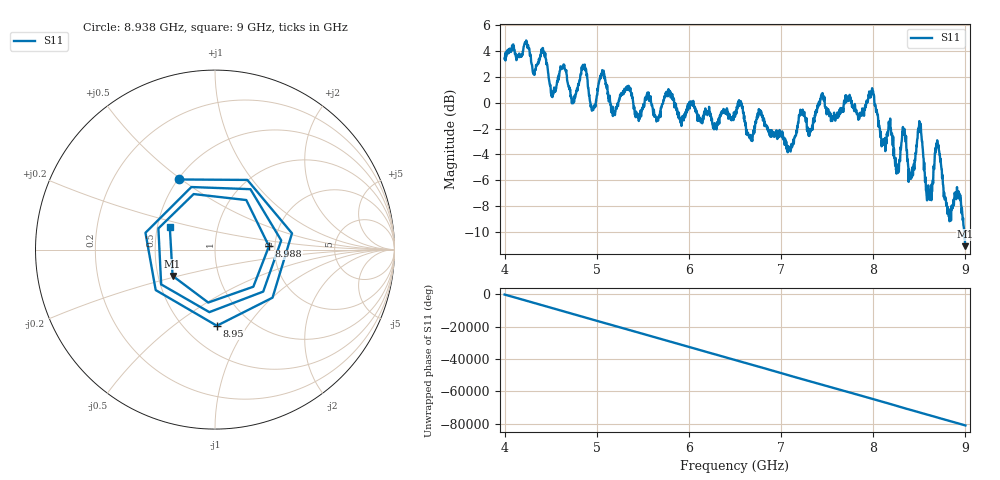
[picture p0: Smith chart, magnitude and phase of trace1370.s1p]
! Created with skrf 1.8.0 (http://scikit-rf.org).
# Hz S RI R 50.0
!freq ReS11 ImS11
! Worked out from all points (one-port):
!   1601 points, 4 GHz to 9 GHz, reference 50 ohm
!   lowest |S11| = -11.1 dB at 8.997 GHz (marker M1), VSWR 1.77, Z = 29.8 - j9.44 ohm
!   |S11| at or under -10 dB: 8.9856 GHz to end of sweep
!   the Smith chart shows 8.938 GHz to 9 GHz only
!   S11 on the Smith chart (normalised r, x): 8.938 GHz: 0.50, +0.49; 8.95 GHz: 0.71, -0.73; 8.988 GHz: 1.86, +0.08; 9 GHz: 0.58, +0.16
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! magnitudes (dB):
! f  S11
! 4 GHz  3.4
! 4.419 GHz  3.9
! 4.528 GHz  0.7
! 4.625 GHz  2.7
! 4.741 GHz  0.0
! 4.859 GHz  2.8
! 4.953 GHz  -0.5
! 5.056 GHz  2.1
! 5.25 GHz  0.4
! 5.875 GHz  -0.9
! 6.5 GHz  -1.1
! 7.125 GHz  -3.3
! 7.216 GHz  -0.9
! 7.75 GHz  0.5
! 7.988 GHz  1.1
! 8.106 GHz  -3.0
! 8.262 GHz  -5.3
! 8.331 GHz  -2.5
! 8.375 GHz  -4.6
! 8.506 GHz  -1.8
! 8.597 GHz  -6.4
! 8.694 GHz  -2.9
! 8.819 GHz  -8.8
! 8.938 GHz  -7.1
! 8.95 GHz  -7.4
! 8.988 GHz  -10.4
! 8.997 GHz  -11.1
! 9 GHz  -11.0
